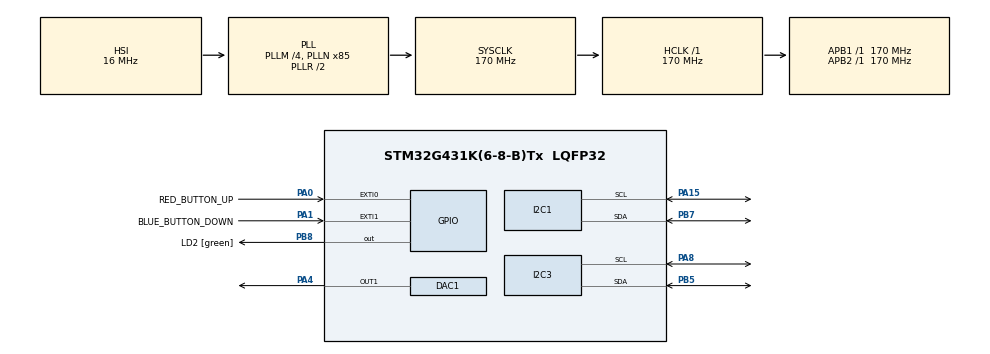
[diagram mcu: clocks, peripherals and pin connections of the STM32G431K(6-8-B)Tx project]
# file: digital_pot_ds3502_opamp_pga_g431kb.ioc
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I2C1.Timing=0x40B285C2
I2C3.Timing=0x40B285C2
Mcu.Family=STM32G4
Mcu.Name=STM32G431K(6-8-B)Tx
Mcu.Package=LQFP32
NUCLEO-G431KB.Bsp_Common_DEMO=true
NUCLEO-G431KB.VCP=true
NVIC.EXTI0_IRQn=true\:0\:0\:false\:false\:true\:true\:true\:true
NVIC.EXTI1_IRQn=true\:0\:0\:false\:false\:true\:true\:true\:true
NVIC.PriorityGroup=NVIC_PRIORITYGROUP_4
PA0.GPIO_Label=RED_BUTTON_UP
PA0.GPIO_ModeDefaultEXTI=GPIO_MODE_IT_FALLING
PA0.GPIO_PuPd=GPIO_PULLUP
PA0.Signal=GPXTI0
PA1.GPIO_Label=BLUE_BUTTON_DOWN
PA1.GPIO_ModeDefaultEXTI=GPIO_MODE_IT_FALLING
PA1.GPIO_PuPd=GPIO_PULLUP
PA1.Signal=GPXTI1
PA13.GPIO_Label=T_SWDIO
PA13.Signal=SYS_JTMS-SWDIO
PA14.GPIO_Label=T_SWCLK
PA14.Signal=SYS_JTCK-SWCLK
PA15.Mode=I2C
PA15.Signal=I2C1_SCL
PA2.Signal=USART2_TX
PA3.Signal=USART2_RX
PA4.Signal=COMP_DAC11_group
PA8.Mode=I2C
PA8.Signal=I2C3_SCL
PB3.GPIO_Label=T_SWO
PB3.Signal=SYS_JTDO-SWO
PB5.Mode=I2C
PB5.Signal=I2C3_SDA
PB7.Mode=I2C
PB7.Signal=I2C1_SDA
PB8-BOOT0.GPIO_Label=LD2 [green]
PB8-BOOT0.Signal=GPIO_Output
ProjectManager.HeapSize=0x200
ProjectManager.StackSize=0x400
ProjectManager.TargetToolchain=STM32CubeIDE
RCC.ADC12Freq_Value=170000000
RCC.AHBFreq_Value=170000000
RCC.APB1Freq_Value=170000000
RCC.APB1TimFreq_Value=170000000
RCC.APB2Freq_Value=170000000
RCC.APB2TimFreq_Value=170000000
RCC.CortexFreq_Value=170000000
RCC.EXTERNAL_CLOCK_VALUE=12288000
RCC.HCLKFreq_Value=170000000
RCC.HSE_VALUE=8000000
RCC.HSI48_VALUE=48000000
RCC.HSI_VALUE=16000000
RCC.LSE_VALUE=32768
RCC.PLLM=RCC_PLLM_DIV4
RCC.PLLN=85
RCC.SYSCLKFreq_VALUE=170000000
RCC.SYSCLKSource=RCC_SYSCLKSOURCE_PLLCLK
RCC.USBFreq_Value=170000000
RCC.VCOOutputFreq_Value=340000000
SH.COMP_DAC11_group.0=DAC1_OUT1,DAC_OUT1
VP_NUCLEO-G431KB_VS_BSP_COMMON.Mode=COMMON
VP_SYS_VS_DBSignals.Mode=DisableDeadBatterySignals
board=NUCLEO-G431KB

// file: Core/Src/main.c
/* USER CODE BEGIN Header */
/**
 ******************************************************************************
 * @file           : main.c
 * @brief          : Main program body
 ******************************************************************************
 * @attention
 *
 * Copyright (c) 2025 STMicroelectronics.
 * All rights reserved.
 *
 * This software is licensed under terms that can be found in the LICENSE file
 * in the root directory of this software component.
 * If no LICENSE file comes with this software, it is provided AS-IS.
 *
 ******************************************************************************
 */
/* USER CODE END Header */
#include "main.h"
#include "dac.h"
#include "i2c.h"
#include "gpio.h"

/* USER CODE BEGIN Includes */
#include "ds3502.h"
#include "ssd1306.h"
/* USER CODE END Includes */

/* USER CODE BEGIN PD */
#define DAC_MAX 4095
#define POT_WIPER_MAX 127
#define OLED_REFRESH_PERIOD 200 // ms
/* USER CODE END PD */

COM_InitTypeDef BspCOMInit;

/* USER CODE BEGIN PV */
uint8_t pot_wiper_to_be_stored = 63;
volatile uint8_t pot_wiper = 50;

uint32_t OledSoftTimer;
char oled_line[32];

uint32_t dac_out = DAC_MAX / 3; // 1.1 V
/* USER CODE END PV */

void SystemClock_Config(void);

int main(void)
{

	/* MCU Configuration--------------------------------------------------------*/

	/* Reset of all peripherals, Initializes the Flash interface and the Systick. */
	HAL_Init();

	/* Configure the system clock */
	SystemClock_Config();

	/* Initialize all configured peripherals */
	MX_GPIO_Init();
	MX_I2C1_Init();
	MX_DAC1_Init();
	MX_I2C3_Init();
	/* USER CODE BEGIN 2 */

	ssd1306_Init();
	ssd1306_Fill(Black);
	ssd1306_SetCursor(20, 0);
	ssd1306_WriteString("ufnalski.edu.pl", Font_6x8, White);
	ssd1306_SetCursor(18, 12);
	ssd1306_WriteString("Digital pot and", Font_6x8, White);
	ssd1306_SetCursor(20, 24);
	ssd1306_WriteString("opamp PGA demo", Font_6x8, White);
	ssd1306_UpdateScreen();

	// Check dac.c for self-calibration
	HAL_DAC_Start(&hdac1, DAC_CHANNEL_1);

//	HAL_Delay(8000); // uncomment to test IVR
//	SetAndStorePotWiper(&pot_wiper_to_be_stored);

	OledSoftTimer = HAL_GetTick();
	/* USER CODE END 2 */

	/* Initialize COM1 port (115200, 8 bits (7-bit data + 1 stop bit), no parity */
	BspCOMInit.BaudRate = 115200;
	BspCOMInit.WordLength = COM_WORDLENGTH_8B;
	BspCOMInit.StopBits = COM_STOPBITS_1;
	BspCOMInit.Parity = COM_PARITY_NONE;
	BspCOMInit.HwFlowCtl = COM_HWCONTROL_NONE;
	if (BSP_COM_Init(COM1, &BspCOMInit) != BSP_ERROR_NONE)
	{
		Error_Handler();
	}

	/* USER CODE BEGIN BSP */

	/* -- Sample board code to send message over COM1 port ---- */
	printf("Welcome to digital potentiometers and opamps!\n\r");

	/* USER CODE END BSP */

	/* Infinite loop */
	/* USER CODE BEGIN WHILE */
	while (1)
	{
		if (HAL_GetTick() - OledSoftTimer > OLED_REFRESH_PERIOD)
		{
			OledSoftTimer = HAL_GetTick();

			SetPotWiper((uint8_t*) (&pot_wiper));

			sprintf(oled_line, "Pot:       %d/%d   ", pot_wiper,
			POT_WIPER_MAX);
			ssd1306_SetCursor(12, 40);
			ssd1306_WriteString(oled_line, Font_6x8, White);

			double r1 = 1000.0
					+ 10000.0 * (POT_WIPER_MAX - pot_wiper) / POT_WIPER_MAX;
			double r2 = 1000.0 + 10000.0 * pot_wiper / POT_WIPER_MAX;

			sprintf(oled_line, "V_out_exp: %.2f V   ",
					3.3 * dac_out / DAC_MAX * (1 + r1 / r2));
			ssd1306_SetCursor(12, 52);
			ssd1306_WriteString(oled_line, Font_6x8, White);
			ssd1306_UpdateScreen();

			HAL_DAC_SetValue(&hdac1, DAC_CHANNEL_1, DAC_ALIGN_12B_R, dac_out);
		}

		/* USER CODE END WHILE */

	}
}

void SystemClock_Config(void)
{
	RCC_OscInitTypeDef RCC_OscInitStruct =
	{ 0 };
	RCC_ClkInitTypeDef RCC_ClkInitStruct =
	{ 0 };

	/** Configure the main internal regulator output voltage
	 */
	HAL_PWREx_ControlVoltageScaling(PWR_REGULATOR_VOLTAGE_SCALE1_BOOST);

	/** Initializes the RCC Oscillators according to the specified parameters
	 * in the RCC_OscInitTypeDef structure.
	 */
	RCC_OscInitStruct.OscillatorType = RCC_OSCILLATORTYPE_HSI;
	RCC_OscInitStruct.HSIState = RCC_HSI_ON;
	RCC_OscInitStruct.HSICalibrationValue = RCC_HSICALIBRATION_DEFAULT;
	RCC_OscInitStruct.PLL.PLLState = RCC_PLL_ON;
	RCC_OscInitStruct.PLL.PLLSource = RCC_PLLSOURCE_HSI;
	RCC_OscInitStruct.PLL.PLLM = RCC_PLLM_DIV4;
	RCC_OscInitStruct.PLL.PLLN = 85;
	RCC_OscInitStruct.PLL.PLLP = RCC_PLLP_DIV2;
	RCC_OscInitStruct.PLL.PLLQ = RCC_PLLQ_DIV2;
	RCC_OscInitStruct.PLL.PLLR = RCC_PLLR_DIV2;
	if (HAL_RCC_OscConfig(&RCC_OscInitStruct) != HAL_OK)
	{
		Error_Handler();
	}

	/** Initializes the CPU, AHB and APB buses clocks
	 */
	RCC_ClkInitStruct.ClockType = RCC_CLOCKTYPE_HCLK | RCC_CLOCKTYPE_SYSCLK
			| RCC_CLOCKTYPE_PCLK1 | RCC_CLOCKTYPE_PCLK2;
	RCC_ClkInitStruct.SYSCLKSource = RCC_SYSCLKSOURCE_PLLCLK;
	RCC_ClkInitStruct.AHBCLKDivider = RCC_SYSCLK_DIV1;
	RCC_ClkInitStruct.APB1CLKDivider = RCC_HCLK_DIV1;
	RCC_ClkInitStruct.APB2CLKDivider = RCC_HCLK_DIV1;

	if (HAL_RCC_ClockConfig(&RCC_ClkInitStruct, FLASH_LATENCY_4) != HAL_OK)
	{
		Error_Handler();
	}
}

/* USER CODE BEGIN 4 */
void HAL_GPIO_EXTI_Callback(uint16_t GPIO_Pin)
{
	if (GPIO_Pin == BLUE_BUTTON_DOWN_Pin)
	{
		if (pot_wiper > 0)
		{
			pot_wiper--;
		}
	}

	if (GPIO_Pin == RED_BUTTON_UP_Pin)
	{
		if (pot_wiper < POT_WIPER_MAX)
		{
			pot_wiper++;
		}
	}
}
/* USER CODE END 4 */

/* USER CODE BEGIN Header */
/**
 ******************************************************************************
 * @file           : main.c
 * @brief          : Main program body
 ******************************************************************************
 * @attention
 *
 * Copyright (c) 2025 STMicroelectronics.
 * All rights reserved.
 *
 * This software is licensed under terms that can be found in the LICENSE file
 * in the root directory of this software component.
 * If no LICENSE file comes with this software, it is provided AS-IS.
 *
 ******************************************************************************
 */
/* USER CODE END Header */

void Error_Handler(void)
{
	__disable_irq();
	while (1)
	{
	}
}
